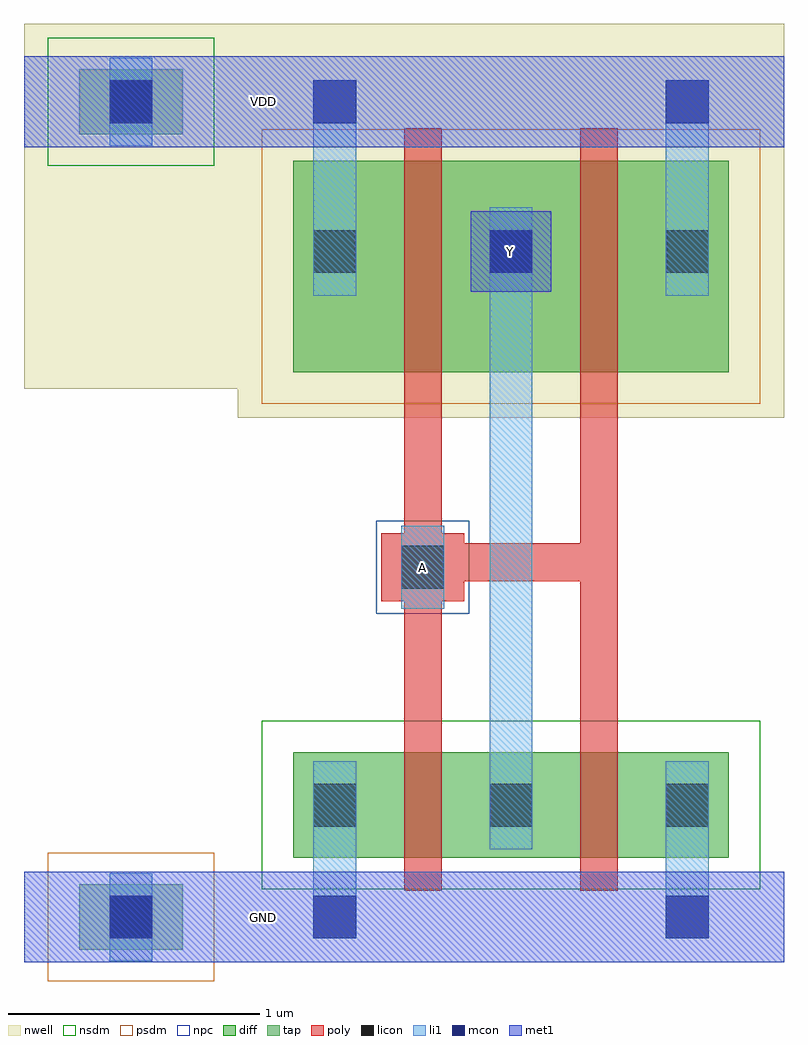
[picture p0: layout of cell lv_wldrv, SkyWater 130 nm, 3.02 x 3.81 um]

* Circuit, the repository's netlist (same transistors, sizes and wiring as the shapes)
* NGSPICE file created from lv_wldrv.ext - technology: sky130A

.subckt wldrv A Y VDD GND w_0_397# VSUBS
X0 GND A Y VSUBS sky130_fd_pr__nfet_01v8 ad=0.1848 pd=1.72 as=0.1155 ps=0.97 w=0.42 l=0.15
X1 VDD A Y w_0_397# sky130_fd_pr__pfet_01v8 ad=0.3696 pd=2.56 as=0.231 ps=1.39 w=0.84 l=0.15
X2 Y A VDD w_0_397# sky130_fd_pr__pfet_01v8 ad=0.231 pd=1.39 as=0.3696 ps=2.56 w=0.84 l=0.15
X3 Y A GND VSUBS sky130_fd_pr__nfet_01v8 ad=0.1155 pd=0.97 as=0.1848 ps=1.72 w=0.42 l=0.15
.ends

.subckt lv_wldrv A Y VDD GND
Xu A Y VDD GND VDD GND wldrv
.ends

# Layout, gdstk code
import gdstk
lib = gdstk.Library(unit=1e-6, precision=1e-09)
def R(c, l, rs):  # rectangles x0, y0, x1, y1
    for r in rs: c.add(gdstk.rectangle(r[:2], r[2:], *l))
def A(c, l, x, y, w, h, nx, ny, dx, dy):  # array of equal rectangles
    R(c, l, [(x+i*dx, y+j*dy, x+i*dx+w, y+j*dy+h) for i in range(nx) for j in range(ny)])
nwell = (64, 20)
diff = (65, 20)
tap = (65, 44)
poly = (66, 20)
licon = (66, 44)
li1 = (67, 20)
mcon = (67, 44)
met1 = (68, 20)
nsdm = (93, 44)
psdm = (94, 20)
npc = (95, 20)

wldrv = lib.new_cell('wldrv')
R(wldrv, nwell, [(0,1.985,2.17,3.55)])
R(wldrv, diff, [(0.22,0.235,1.95,0.655), (0.22,2.165,1.95,3.005)])
R(wldrv, poly, [(0.66,0.105,0.81,1.255), (1.36,0.105,1.51,1.335), (0.57,1.255,0.9,1.335), (0.57,1.335,1.51,1.485), (0.57,1.485,0.9,1.525), (1.36,1.485,1.51,3.135), (0.66,1.525,0.81,3.135)])
A(wldrv, licon, 0.3, 0.36, 0.17, 0.17, 3, 2, 0.7, 2.2)
R(wldrv, licon, [(0.65,1.305,0.82,1.475)])
R(wldrv, li1, [(0.3,-0.085,0.47,0.62), (1.7,-0.085,1.87,0.62), (1,0.27,1.17,2.82), (0.65,1.225,0.82,1.555), (0.3,2.47,0.47,3.325), (1.7,2.47,1.87,3.325)])
R(wldrv, mcon, [(0.3,-0.085,0.47,0.085), (1.7,-0.085,1.87,0.085), (1,2.56,1.17,2.73), (0.3,3.155,0.47,3.325), (1.7,3.155,1.87,3.325)])
R(wldrv, met1, [(0,-0.18,2.17,0.18), (0.925,2.485,1.245,2.805), (0,3.06,2.17,3.42)])
R(wldrv, nsdm, [(0.095,0.11,2.075,0.78)])
R(wldrv, psdm, [(0.095,2.04,2.075,3.13)])
R(wldrv, npc, [(0.55,1.205,0.92,1.575)])
wldrv.add(gdstk.Label('A', (0.735,1.39), layer=67, texttype=5))
wldrv.add(gdstk.Label('Y', (1.085,2.645), layer=68, texttype=5))
wldrv.add(gdstk.Label('VDD', (0.1,3.24), layer=68, texttype=5))
wldrv.add(gdstk.Label('GND', (0.1,0), layer=68, texttype=5))

tap_ = lib.new_cell('tap')
R(tap_, nwell, [(0,2.1,0.85,3.55)])
R(tap_, tap, [(0.22,-0.13,0.63,0.13), (0.22,3.11,0.63,3.37)])
R(tap_, licon, [(0.34,-0.085,0.51,0.085), (0.34,3.155,0.51,3.325)])
R(tap_, li1, [(0.34,-0.175,0.51,0.175), (0.34,3.065,0.51,3.415)])
R(tap_, mcon, [(0.34,-0.085,0.51,0.085), (0.34,3.155,0.51,3.325)])
R(tap_, met1, [(0,-0.18,0.85,0.18), (0,3.06,0.85,3.42)])
R(tap_, nsdm, [(0.095,2.985,0.755,3.495)])
R(tap_, psdm, [(0.095,-0.255,0.755,0.255)])
tap_.add(gdstk.Label('VDD', (0.1,3.24), layer=68, texttype=5))
tap_.add(gdstk.Label('GND', (0.1,0), layer=68, texttype=5))

lv_wldrv = lib.new_cell('lv_wldrv')
R(lv_wldrv, li1, [(1.5,1.305,1.67,1.475)])
R(lv_wldrv, met1, [(0.865,-0.085,1.035,0.085), (1.85,2.56,2.02,2.73), (0.865,3.155,1.035,3.325)])
lv_wldrv.add(gdstk.Reference(wldrv, (0.85,0)))
lv_wldrv.add(gdstk.Reference(tap_, (0,0)))
lv_wldrv.add(gdstk.Label('A', (1.585,1.39), layer=67, texttype=5))
lv_wldrv.add(gdstk.Label('Y', (1.935,2.645), layer=68, texttype=5))
lv_wldrv.add(gdstk.Label('VDD', (0.95,3.24), layer=68, texttype=5))
lv_wldrv.add(gdstk.Label('GND', (0.95,0), layer=68, texttype=5))

lib.write_gds('lv_wldrv.gds')
